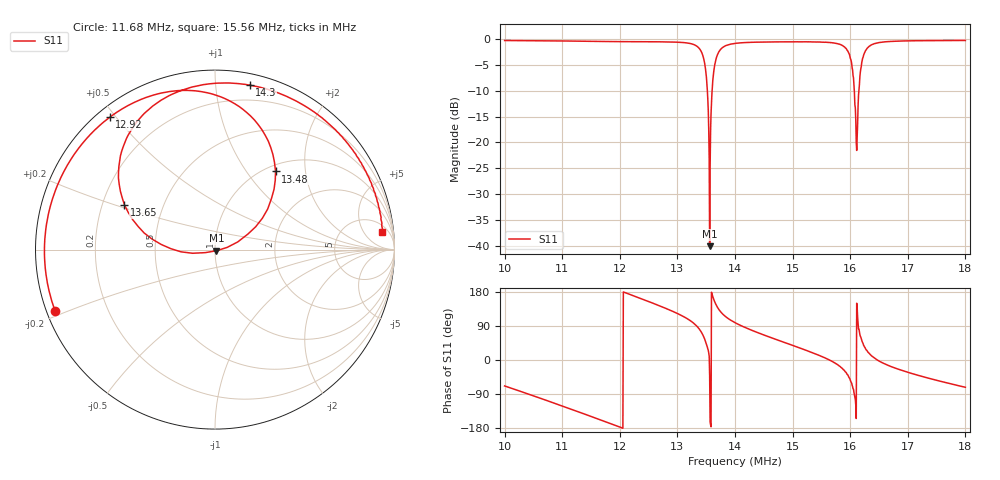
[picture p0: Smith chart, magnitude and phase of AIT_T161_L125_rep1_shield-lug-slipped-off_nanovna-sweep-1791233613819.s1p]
! NanoVNA Web complex sweep
! Processing: unaveraged complex samples; linear segment spacing; no smoothing
# Hz S RI R 50
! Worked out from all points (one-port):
!   1010 points, 10 MHz to 18 MHz, reference 50 ohm
!   lowest |S11| = -40.1 dB at 13.56 MHz (marker M1), VSWR 1.02, Z = 50.7 - j0.654 ohm
!   |S11| at or under -10 dB: 13.52 MHz to 13.6 MHz (81.79 kHz wide, 0.603 % of centre); 16.07174 MHz to 16.15169 MHz (79.95 kHz wide, 0.496 % of centre)
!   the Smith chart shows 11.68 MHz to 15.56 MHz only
!   S11 on the Smith chart (normalised r, x): 11.68 MHz: 0.02, -0.19; 12.92 MHz: 0.04, +0.48; 13.48 MHz: 1.11, +1.39; 13.65 MHz: 0.29, +0.21; 14.3 MHz: 0.08, +1.23; 15.56 MHz: 9, +14
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1e7  0.3575 -0.9064
1.100698e7  -0.5079 -0.8206
1.168095e7  -0.8909 -0.3422
1.200604e7  -0.9497 -0.0449
1.291787e7  -0.5857 0.738
1.300509e7  -0.5022 0.7929
1.333018e7  -0.00659 0.8642
1.348083e7  0.3374 0.4355
1.35284e7  0.2268 0.1274
1.356012e7  0.00746 -0.00645
1.359184e7  -0.2448 0.00474
1.361562e7  -0.3945 0.0923
1.364734e7  -0.5044 0.2489
1.379006e7  -0.4286 0.7199
1.400414e7  -0.1304 0.9052
1.429752e7  0.1935 0.9164
1.50032e7  0.7419 0.5881
1.555823e7  0.9319 0.0955
1.58516e7  0.8207 -0.3158
1.600225e7  0.3886 -0.5273
1.605776e7  0.0938 -0.4129
1.611326e7  -0.0723 0.0421
1.616876e7  0.1722 0.4037
1.621634e7  0.4572 0.4692
1.630356e7  0.7701 0.3071
1.643042e7  0.9097 0.0655
1.700131e7  0.8158 -0.5189
1.800036e7  0.3014 -0.9279
